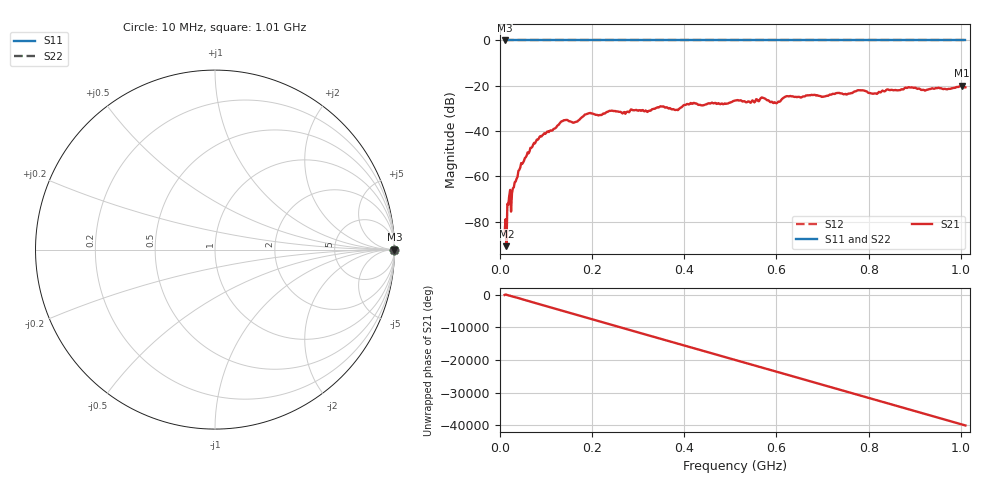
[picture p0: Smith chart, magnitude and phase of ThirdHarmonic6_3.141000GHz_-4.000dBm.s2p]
! 8/17/2025 9:22:33 AM
! C:\ANRITSUVNA\TEMP\TEMP.S2P
! CHANNEL.1
! TR.MEASUREMENT
! RAW.DATA
! RF.CORRECTION.OFF
! AVERAGING.OFF
! IF.BANDWIDTH: 5KHZ
! SWEEPTYPE:  FREQ.SWEEP(Linear)
! Reference Plane Port Info
! PORT:  PORT1  PORT2
! DISTANCE:  0  m  0  m
! TIME:  0  s  0  s
! PHASE.OFFSET:  0  deg.  0  deg.
! LOSS:  0  dB  0  dB
! REF.LOSS:  0  dB  0  dB
! REF.FREQ:  0  Hz  0  Hz
! Power Info
! POWER:  -20  dBm  -20  dBm
! EFF.POWER:  -20  dBm  -20  dBm
! SOURCE.ATTEN:  0  dB  0  dB
! TEST.ATTEN:  0  dB  0  dB
# GHZ S RI R 50.0
! FREQ.GHZ  S11RE  S11IM  S21RE  S21IM  S12RE  S12IM  S22RE  S22IM
!; PortSelection: Port_12
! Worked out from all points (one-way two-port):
!   501 points, 10 MHz to 1.01 GHz, reference 50 ohm
!   highest |S21| = -19.99 dB at 1.002 GHz (marker M1); lowest = -90.8 dB at 14 MHz (marker M2)
!   lowest |S11| = 0.0 dB at 10 MHz (marker M3)
!   |S11| at or under -10 dB: nowhere
!   |S22| runs from 0.0 to 0.0 dB; largest |S21 - S12| = 1.1
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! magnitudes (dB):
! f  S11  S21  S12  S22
! 10 MHz  0.0  -85.1  0.0  0.0
! 14 MHz  0.0  -90.8  0.0  0.0
! 18 MHz  0.0  -72.6  0.0  0.0
! 28 MHz  0.0  -65.3  0.0  0.0
! 44 MHz  0.0  -56.1  0.0  0.0
! 76 MHz  0.0  -45.4  0.0  0.0
! 136 MHz  0.0  -35.6  0.0  0.0
! 162 MHz  0.0  -36.1  0.0  0.0
! 178 MHz  0.0  -33.9  0.0  0.0
! 194 MHz  0.0  -32.1  0.0  0.0
! 322 MHz  0.0  -31.2  0.0  0.0
! 344 MHz  0.0  -29.6  0.0  0.0
! 384 MHz  0.0  -30.6  0.0  0.0
! 416 MHz  0.0  -27.9  0.0  0.0
! 510 MHz  0.0  -26.5  0.0  0.0
! 570 MHz  0.0  -25.3  0.0  0.0
! 598 MHz  0.0  -27.6  0.0  0.0
! 622 MHz  0.0  -24.6  0.0  0.0
! 678 MHz  0.0  -24.1  0.0  0.0
! 844 MHz  0.0  -21.8  0.0  0.0
! 1.002 GHz  0.0  -20.0  0.0  0.0
! 1.01 GHz  0.0  -20.7  0.0  0.0
